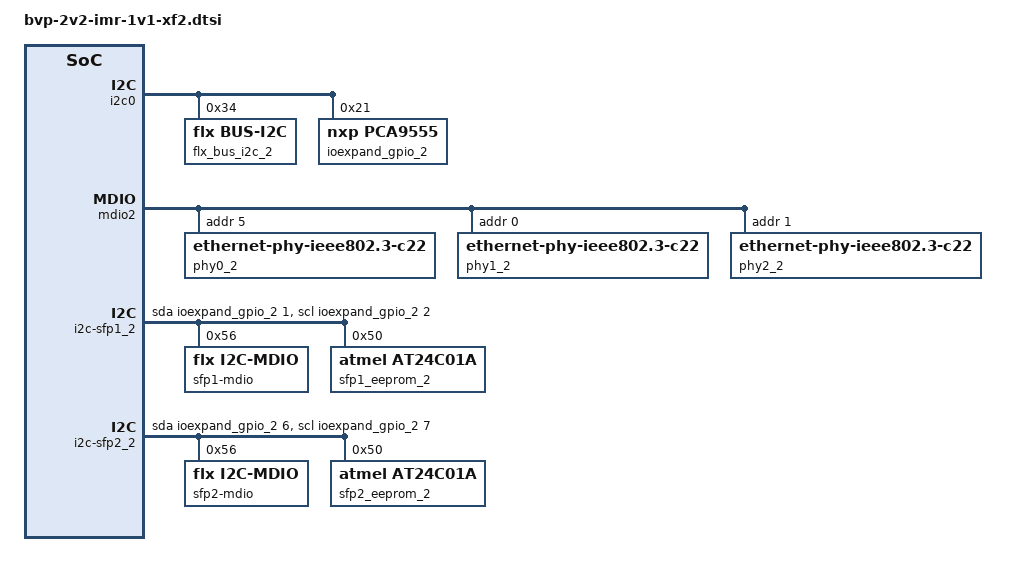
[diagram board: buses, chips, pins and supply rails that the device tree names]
// bus/platform/devices/0.xrs
&i2c0 {
    /* Access to XRS via I2C */
    flx_bus_i2c_2: flx_bus@34 {
        #address-cells = <1>;
        #size-cells = <1>;
        compatible = "flx,bus-i2c";
        /* Possible addresses: 0x24 / 0x34 / 0x64 / 0x74 */
        reg = <0x34>;

        xrs_2@0 {
            compatible = "flx,xrs";
            reg = <0x0 0xa>;

            /* The following could be used instead of flx_xrs_guard. */

            /* GPIO signal for power OK, optional */
//            power-ok = <&gpio 42 0>;

            /* GPIO signal for reset, optional */
            reset = <&gpio 44 0>;

            /* Interrupt to enable via sysfs, optional */            
            interrupt-parent = <&gpio>;
            interrupts = <18 8>;
            
        };

        flx_gpio_behind_i2c_2: gpio_2@10000 {
            compatible = "flx,gpio";
            reg = <0x10000 0x1100>;

            gpio-controller;
            #gpio-cells = <2>;
            width = <0x14>;
        };

        rtc_2@280000 {
            compatible = "flx,rtc";
            reg = <0x280000 0x10000>;
            /* Step size in nanoseconds and subnanoseconds */
            step-size = <8 0>;
        };

        rs_behind_i2c_2: rs_2@300000 {
            #address-cells = <1>;
            #size-cells = <1>;
            compatible = "flx,rs";
            /* Switch registers */
            reg = <0x300000 0x8000>;
            interrupt-parent = <&gpio>;
            interrupts = <18 8>;
            mac_name = "xf2";
            port0 {
                if_name = "SE21";
                /* 0=none 1=SFP 2=PHY 5=NOPHY */
                medium_type = <2>;
                cpu-port;
                /* port and port adapter registers */
                reg = <0x200000 0x10000>;
                phy-handle = <&phy0_2>;
                phy-mode = "rmii";
                /*auto-speed-select;*/
            };
            port1 {
                if_name = "CE22";
                medium_type = <1>;
                reg = <0x210000 0x10000>;
                phy-handle = <&phy1_2>;
                phy-mode = "rgmii-id";
                /*auto-speed-select;*/
                sfp-eeprom = <&sfp2_eeprom_2>;
                sfp-phy-handle = <&sfp2_phy_2>;
            };
            port2 {
                if_name = "CE21";
                medium_type = <1>;
                reg = <0x220000 0x10000>;
                phy-handle = <&phy2_2>;
                phy-mode = "rgmii-id";
                /*auto-speed-select;*/
                sfp-eeprom = <&sfp1_eeprom_2>;
                sfp-phy-handle = <&sfp1_phy_2>;
            };
        };

        ts_2@290000 {
            compatible = "flx,ts";
            reg = <0x00290000 0x1200>;
            interrupt-parent = <&gpio>;
            interrupts = <18 8>;
        };

        ts_2@298000 {
            compatible = "flx,ts";
            reg = <0x00298000 0x1200>;
            interrupt-parent = <&gpio>;
            interrupts = <18 8>;
        };

        ts_2@2a0000 {
            compatible = "flx,ts";
            reg = <0x002a0000 0x1200>;
            interrupt-parent = <&gpio>;
            interrupts = <18 8>;
        };

        ts_2@2a8000 {
            compatible = "flx,ts";
            reg = <0x002a8000 0x1200>;
            interrupt-parent = <&gpio>;
            interrupts = <18 8>;
        };
    };

    ioexpand_gpio_2: pca9555@21 {
        compatible = "nxp,pca9555";
        reg = <0x21>;

        gpio-controller;
        #gpio-cells = <2>;
    };
};

&mdio2 {
        /* PHY for FRS port 0 */
        phy0_2: mdio2_phy@5 {
            compatible = "ethernet-phy-ieee802.3-c22";
            reg = <0x5>;
        };
        /* PHY for FRS port 1 */
        phy1_2: mdio2_phy@1 {
            compatible = "ethernet-phy-ieee802.3-c22";
            reg = <0x0>;
            /* Enable RCLK to CLK125 pin */
            marvell,reg-init = <2 16 0xffff 0x0001>;
        };
        /* PHY for FRS port 2 */
        phy2_2: mdio2_phy@0 {
            compatible = "ethernet-phy-ieee802.3-c22";
            reg = <0x1>;
            /* Enable RCLK to CLK125 pin */
            marvell,reg-init = <2 16 0xffff 0x0001>;
        };
};

&soc {
    /* I2C bus to SFP1 */
    i2c-sfp1_2 {
        compatible = "i2c-gpio";
        #address-cells = <1>;
        #size-cells = <0>;
        /* SDA and SCL */
        gpios = <&ioexpand_gpio_2 1 0
             &ioexpand_gpio_2 2 0>;

        /*
         * Hw is not open-drain, it can drive high.
         * So must not use xxx-open-drain here.
         * Enable clock stretching by not using setting output-only.
         */
        //i2c-gpio,sda-open-drain;
        //i2c-gpio,scl-open-drain;
        //i2c-gpio,scl-output-only;
        i2c-gpio,delay-us = <5>;
        i2c-gpio,timeout-ms = <100>;

        /* I2C slave: PHY in SFP */
        sfp1-mdio {
            #address-cells = <1>;
            #size-cells = <0>;
            compatible = "flx,i2c-mdio";
            reg = <0x56>;

            /* PHY device on virtual MDIO bus */
            sfp1_phy_2: sfp1-phy {
                compatible = "ethernet-phy-ieee802.3-c22";
                /* I2C slave address 0xac with write bit,
                 * actual I2C slave address 0x56,
                 * PHY address 0x16
                 */
                reg = <0x16>;
            };
        };

        /* I2C slave: EEPROM in SFP */
        sfp1_eeprom_2: sfp1-eeprom {
            compatible = "atmel,at24c01a";
            reg = <0x50>;
        };
    };

    /* I2C bus to SFP2 */
    i2c-sfp2_2 {
        compatible = "i2c-gpio";
        #address-cells = <1>;
        #size-cells = <0>;
        /* SDA and SCL */
        gpios = <&ioexpand_gpio_2 6 0
             &ioexpand_gpio_2 7 0>;

        /*
         * Hw is not open-drain, it can drive high.
         * So must not use xxx-open-drain here.
         * Enable clock stretching by not using setting output-only.
         */
        //i2c-gpio,sda-open-drain;
        //i2c-gpio,scl-open-drain;
        //i2c-gpio,scl-output-only;
        i2c-gpio,delay-us = <5>;
        i2c-gpio,timeout-ms = <100>;

        /* I2C slave: PHY in SFP */
        sfp2-mdio {
            #address-cells = <1>;
            #size-cells = <0>;
            compatible = "flx,i2c-mdio";
            reg = <0x56>;

            /* PHY device on virtual MDIO bus */
            sfp2_phy_2: sfp2-phy {
                compatible = "ethernet-phy-ieee802.3-c22";
                /* I2C slave address 0xac with write bit,
                 * actual I2C slave address 0x56,
                 * PHY address 0x16
                 */
                reg = <0x16>;
            };
        };

        /* I2C slave: EEPROM in SFP */
        sfp2_eeprom_2: sfp2-eeprom {
            compatible = "atmel,at24c01a";
            reg = <0x50>;
        };
    };
};

